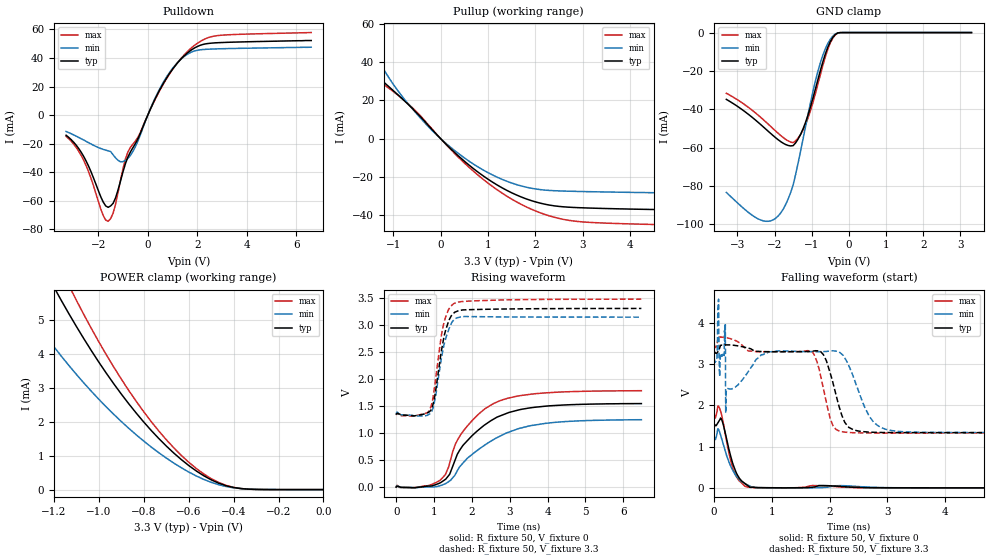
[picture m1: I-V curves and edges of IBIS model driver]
| IBIS file io_buf_50ps_tr100ps.ibs created by PYS2IBIS3
| Missouri S&T EMC Lab
[IBIS Ver] 5.1
[File Name] io_buf_50ps_tr100ps.ibs
[File Rev] 0.1
[Date] December 6, 2025
[Source] Netlist generated by Grok
[Notes] Parameter selection; sim_time=6.479e-09, tr=tf=1.000e-10.
[Disclaimer] This buffer is not a real buffer. It is a imaginay buffer. What
 is a imaginay buffer? An imagnary buffer is a buffer that is...
[Copyright] Missouri S&T EMC Lab
[Component] MCM Driver 1
[Manufacturer] MegaFLOPS Inc.
[Package]
| variable   typ   min   max
R_pkg 0 NA NA
L_pkg 0H NA NA
C_pkg 0F NA NA
[Pin]  signal_name   model_name   R_pin   L_pin   C_pin
vss   vss   GND
vdd   vdd   POWER
| oe oe dummy
| in in dummy
out   out   driver
| End of Component
| Models and submodels in the file (1): driver (I/O)
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[Model] driver
Model_type I/O
Polarity Non-Inverting
Enable Active-High
Vinl  = 0.8V
Vinh  = 2V
C_comp 1.2000pF 1.0000pF 1.4000pF
[Temperature Range] 27.0000 100.0000 0.0000
[Voltage Range] 3.3000V 3.0000V 3.6000V
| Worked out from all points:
|   slope of the pulldown table from 0 to 0.495 V, typ, clamps not added: 27.4 ohm
|   slope of the pullup table from 0 to 0.495 V, typ, clamps not added: 42.7 ohm
|   GND clamp passes 1 mA (typ) near -0.36 V on its own axis
|   POWER clamp passes 1 mA (typ) near -0.65 V on its own axis
|   rising waveform, R_fixture 50, V_fixture 0: 20-80 % time 1.07ns typ, 1.33ns min, 930ps max; typ from 0 V to 1.54 V
|   rising waveform, R_fixture 50, V_fixture 3.3: 20-80 % time 278ps typ, 277ps min, 270ps max; typ from 1.34 V to 3.3 V
|   falling waveform, R_fixture 50, V_fixture 0: 20-80 % time 196ps typ, 231ps min, 180ps max; typ from 1.54 V to 0 V
|   falling waveform, R_fixture 50, V_fixture 3.3: 20-80 % time 237ps typ, 315ps min, 211ps max; typ from 3.3 V to 1.34 V
[Pulldown]
| Voltage   I(typ)   I(min)   I(max)
-3.3V     -14.11mA   -11.49mA   -14.92mA
-2.6V     -28.62mA   -17.33mA   -31.26mA
-1.8V     -60.89mA   -24.01mA   -70.36mA
-1.6V     -64.58mA   -24.99mA   -74.37mA
-1.3V     -57.87mA   -29.98mA   -62.22mA
-1V       -39.62mA   -32.58mA   -37.38mA
-800mV    -29.26mA   -30.26mA   -25.73mA
-400mV    -16.61mA   -18.23mA   -15.56mA
600mV     21.34mA    22.16mA    20.91mA
1.7V      44.86mA    43.6mA     46.12mA
2.8V      50.65mA    46.37mA    55.62mA
6.6V      52.2mA     47.56mA    57.78mA
[Pullup]
| Voltage   I(typ)   I(min)   I(max)
-3.3V     52.9mA     288mA      32.03mA
-2.9V     57.26mA    200.3mA    40.86mA
-2.5V     55.97mA    137.1mA    43.93mA
-2.2V     50.87mA    101.5mA    42.91mA
-1.7V     40.21mA    61.42mA    36.21mA
-1V       25.06mA    28.32mA    24.59mA
-200mV    5.278mA    4.74mA     5.561mA
600mV     -13.78mA   -11.72mA   -14.92mA
1.5V      -28.2mA    -23.1mA    -31.5mA
2.2V      -34.15mA   -26.79mA   -39.49mA
2.9V      -35.95mA   -27.49mA   -43.18mA
6.6V      -37.71mA   -28.71mA   -45.68mA
[GND Clamp]
| Voltage   I(typ)   I(min)   I(max)
-3.3V     -34.82mA   -83.32mA   -31.62mA
-2.367V   -48.08mA   -97.77mA   -44.32mA
-2.1V     -52.69mA   -98.1mA    -49.02mA
-1.833V   -56.87mA   -93.93mA   -53.7mA
-1.633V   -58.86mA   -86.63mA   -56.5mA
-1.5V     -58.92mA   -79.34mA   -57.37mA
-1.233V   -50.13mA   -55.35mA   -50.74mA
-1.033V   -38.66mA   -36.46mA   -40.67mA
-766.7mV  -19.68mA   -15.62mA   -21.83mA
-566.7mV  -7.562mA   -5.625mA   -8.589mA
-366.7mV  -1.04mA    -747.4uA   -1.186mA
3.3V      806.1pA    7.276uA    187.3pA
[POWER Clamp]
| Voltage   I(typ)   I(min)   I(max)
-3.3V     69.1mA     63.7mA     73.07mA
-1.367V   8.162mA    5.773mA    9.455mA
-1.2V     5.986mA    4.223mA    6.947mA
-1.167V   5.586mA    3.941mA    6.483mA
-1.133V   5.198mA    3.669mA    6.033mA
-1.1V     4.823mA    3.406mA    5.596mA
-966.7mV  3.44mA     2.442mA    3.986mA
-833.3mV  2.26mA     1.618mA    2.607mA
-700mV    1.29mA     934.1uA    1.477mA
-566.7mV  553.4uA    405uA      627uA
-400mV    62.27uA    53.24uA    65.79uA
0V        806.1pA    6.115nA    316.9pA
[Ramp]
| variable   typ   min   max
dV/dt_r 0.9252/1.068n  0.7464/1.33n 1.0680/0.9312n
dV/dt_f 1.1772/0.2353n 1.0914/0.3121n 1.2714/0.2043n
R_load = 50
[Rising Waveform]
R_fixture = 50
V_fixture = 0
|time   V(typ)   V(min)   V(max)
0s        7.302nV    59.67nV    2.904nV
1.167ns   78.77mV    25.44mV    130.4mV
1.297ns   138.8mV    59.77mV    227.5mV
1.414ns   237.4mV    111.6mV    448.1mV
1.557ns   504.8mV    227.4mV    782mV
1.751ns   756.7mV    433.3mV    1.016V
2.205ns   1.073V     709.3mV    1.365V
2.737ns   1.312V     939mV      1.594V
3.852ns   1.488V     1.169V     1.735V
6.479ns   1.542V     1.244V     1.78V
[Rising Waveform]
R_fixture = 50
V_fixture = 3.3
|time   V(typ)   V(min)   V(max)
0s        1.338V     1.342V     1.329V
454ps     1.316V     1.318V     1.309V
882ps     1.393V     1.35V      1.424V
998.8ps   1.599V     1.531V     1.774V
1.161ns   2.361V     2.242V     2.643V
1.239ns   2.695V     2.547V     2.97V
1.388ns   3.073V     2.91V      3.283V
1.518ns   3.213V     3.082V     3.389V
1.861ns   3.276V     3.152V     3.434V
6.479ns   3.3V       3.139V     3.472V
[Falling Waveform]
R_fixture = 50
V_fixture = 0
|time   V(typ)   V(min)   V(max)
0s        1.545V     1.247V     1.783V
25.9ps    1.506V     1.177V     1.705V
71.3ps    1.591V     1.43V      1.986V
129.7ps   1.663V     1.2V       1.778V
252.9ps   959.3mV    642.6mV    870.5mV
337.2ps   535.4mV    388.3mV    426.8mV
434.5ps   238.3mV    202.6mV    171.6mV
577.2ps   58.35mV    72.82mV    19.94mV
914.5ps   860.4uV    1.417mV    418.4uV
6.479ns   -498.6nV   1.844uV    -3.86uV
[Falling Waveform]
R_fixture = 50
V_fixture = 3.3
|time   V(typ)   V(min)   V(max)
0s        3.3V       3.139V     3.472V
51.9ps    3.273V     3.159V     3.49V
77.8ps    3.328V     4.577V     3.666V
97.3ps    3.392V     2.701V     3.663V
194.6ps   3.466V     3.991V     3.649V
201.1ps   3.467V     1.816V     3.648V
1.693ns   3.312V     3.302V     3.306V
2.043ns   2.632V     3.325V     1.56V
2.97ns    1.341V     1.421V     1.329V
6.479ns   1.338V     1.342V     1.329V
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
